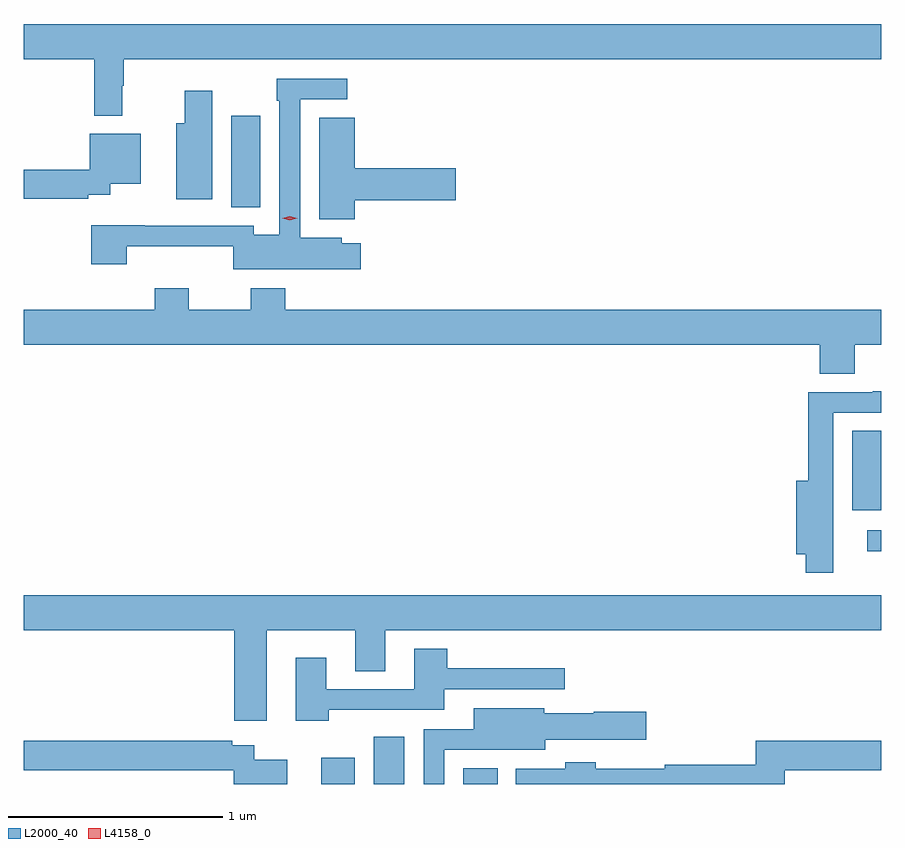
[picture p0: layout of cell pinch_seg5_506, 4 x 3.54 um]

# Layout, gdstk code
import gdstk
lib = gdstk.Library(unit=1e-6, precision=1e-09)
def R(c, l, rs):  # rectangles x0, y0, x1, y1
    for r in rs: c.add(gdstk.rectangle(r[:2], r[2:], *l))
def P(c, l, *ps):  # polygons
    for p in ps: c.add(gdstk.Polygon(p, *l))
L2000_40 = (2000, 40)
L4158_0 = (4158, 0)

pinch_seg5_506 = lib.new_cell('pinch_seg5_506')
R(pinch_seg5_506, L2000_40, [(891.71,844.055,891.868,844.177), (891.956,844.055,892.099,844.276), (892.373,844.055,892.534,844.129), (894.258,845.141,894.323,845.238), (894.188,845.331,894.323,845.702), (891.29,846.745,891.427,847.171)])
P(pinch_seg5_506, L2000_40, [(890.782,847.313),(890.789,847.313),(890.789,847.436),(894.323,847.436),(894.323,847.6),(890.323,847.6),(890.323,847.436),(890.653,847.436),(890.653,847.173),(890.782,847.173)],
  [(891.895,846.577),(891.807,846.577),(891.807,846.604),(891.612,846.604),(891.612,847.248),(891.832,847.248),(891.832,847.344),(891.504,847.344),(891.504,847.241),(891.516,847.241),(891.516,846.616),(891.396,846.616),(891.396,846.66),(890.887,846.66),(890.887,846.662),(890.639,846.662),(890.639,846.48),(890.804,846.48),(890.804,846.563),(891.3,846.563),(891.3,846.455),(891.895,846.455)],
  [(891.202,847.288),(891.073,847.288),(891.073,847.138),(891.035,847.138),(891.035,846.782),(891.202,846.782)],
  [(891.868,846.779),(892.339,846.779),(892.339,846.926),(891.868,846.926),(891.868,847.163),(891.701,847.163),(891.701,846.689),(891.868,846.689)],
  [(890.624,846.803),(890.727,846.803),(890.727,846.854),(890.869,846.854),(890.869,847.087),(890.631,847.087),(890.631,846.92),(890.323,846.92),(890.323,846.784),(890.624,846.784)],
  [(894.035,845.968),(894.2,845.968),(894.2,846.104),(894.323,846.104),(894.323,846.268),(891.542,846.268),(891.542,846.367),(891.382,846.367),(891.382,846.268),(891.093,846.268),(891.093,846.367),(890.933,846.367),(890.933,846.268),(890.323,846.268),(890.323,846.104),(894.035,846.104)],
  [(894.099,845.787),(894.323,845.787),(894.323,845.886),(894.283,845.886),(894.283,845.883),(893.983,845.883),(893.983,845.47),(893.927,845.47),(893.927,845.126),(893.97,845.126),(893.97,845.04),(894.099,845.04)],
  [(891.457,844.772),(891.869,844.772),(891.869,844.582),(892.009,844.582),(892.009,844.772),(894.323,844.772),(894.323,844.936),(890.323,844.936),(890.323,844.772),(891.305,844.772),(891.305,844.35),(891.457,844.35)],
  [(891.746,844.401),(892.285,844.401),(892.285,844.497),(892.846,844.497),(892.846,844.594),(892.298,844.594),(892.298,844.687),(892.145,844.687),(892.145,844.497),(891.733,844.497),(891.733,844.645),(891.593,844.645),(891.593,844.35),(891.746,844.35)],
  [(892.284,844.215),(892.53,844.215),(892.53,844.214),(892.756,844.214),(892.756,844.262),(893.227,844.262),(893.227,844.392),(892.983,844.392),(892.983,844.384),(892.752,844.384),(892.752,844.408),(892.421,844.408),(892.421,844.311),(892.188,844.311),(892.188,844.055),(892.284,844.055)],
  [(893.873,844.12),(894.323,844.12),(894.323,844.256),(893.737,844.256),(893.737,844.145),(893.314,844.145),(893.314,844.126),(892.991,844.126),(892.991,844.156),(892.849,844.156),(892.849,844.126),(892.619,844.126),(892.619,844.055),(893.873,844.055)],
  [(891.553,844.168),(891.399,844.168),(891.399,844.236),(891.296,844.236),(891.296,844.256),(890.323,844.256),(890.323,844.12),(891.303,844.12),(891.303,844.055),(891.553,844.055)])
P(pinch_seg5_506, L4158_0, [(891.564,846.684),(891.529,846.694),(891.529,846.695),(891.529,846.695),(891.564,846.704),(891.598,846.694),(891.599,846.693),(891.598,846.693)])

lib.write_gds('pinch_seg5_506.gds')
